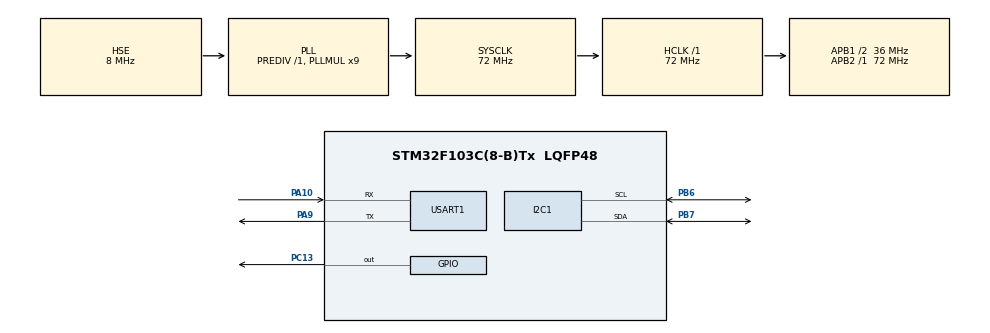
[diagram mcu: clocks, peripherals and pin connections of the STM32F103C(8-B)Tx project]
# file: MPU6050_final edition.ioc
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I2C1.I2C_Mode=I2C_Fast
Mcu.Family=STM32F1
Mcu.Name=STM32F103C(8-B)Tx
Mcu.Package=LQFP48
NVIC.PriorityGroup=NVIC_PRIORITYGROUP_4
NVIC.TIM2_IRQn=true\:0\:0\:false\:false\:true\:true\:true\:true
NVIC.USART1_IRQn=true\:0\:0\:false\:false\:true\:true\:true\:true
PA10.Mode=Asynchronous
PA10.Signal=USART1_RX
PA13.Mode=Serial_Wire
PA13.Signal=SYS_JTMS-SWDIO
PA14.Mode=Serial_Wire
PA14.Signal=SYS_JTCK-SWCLK
PA9.Mode=Asynchronous
PA9.Signal=USART1_TX
PB6.Mode=I2C
PB6.Signal=I2C1_SCL
PB7.Mode=I2C
PB7.Signal=I2C1_SDA
PC13-TAMPER-RTC.Signal=GPIO_Output
PD0-OSC_IN.Mode=HSE-External-Oscillator
PD0-OSC_IN.Signal=RCC_OSC_IN
PD1-OSC_OUT.Mode=HSE-External-Oscillator
PD1-OSC_OUT.Signal=RCC_OSC_OUT
ProjectManager.HeapSize=0x200
ProjectManager.StackSize=0x400
ProjectManager.TargetToolchain=MDK-ARM V5.32
RCC.AHBFreq_Value=72000000
RCC.APB1CLKDivider=RCC_HCLK_DIV2
RCC.APB1Freq_Value=36000000
RCC.APB1TimFreq_Value=72000000
RCC.APB2Freq_Value=72000000
RCC.APB2TimFreq_Value=72000000
RCC.HCLKFreq_Value=72000000
RCC.PLLMUL=RCC_PLL_MUL9
RCC.PLLSourceVirtual=RCC_PLLSOURCE_HSE
RCC.SYSCLKFreq_VALUE=72000000
RCC.SYSCLKSource=RCC_SYSCLKSOURCE_PLLCLK
RCC.USBFreq_Value=72000000
TIM2.Period=100-1
TIM2.Prescaler=720-1
USART1.VirtualMode=VM_ASYNC
VP_TIM2_VS_ClockSourceINT.Mode=Internal
board=custom

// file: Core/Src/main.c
/* USER CODE BEGIN Header */
/**
  ******************************************************************************
  * @file           : main.c
  * @brief          : Main program body
  ******************************************************************************
  * @attention
  *
  * Copyright (c) 2022 STMicroelectronics.
  * All rights reserved.
  *
  * This software is licensed under terms that can be found in the LICENSE file
  * in the root directory of this software component.
  * If no LICENSE file comes with this software, it is provided AS-IS.
  *
  ******************************************************************************
  */
/* USER CODE END Header */
#include "main.h"
#include "i2c.h"
#include "tim.h"
#include "usart.h"
#include "gpio.h"

/* USER CODE BEGIN Includes */
#include <stdlib.h>
#include <string.h>
#include "MPU6050.h"
/* USER CODE END Includes */

/* USER CODE BEGIN PM */
int fputc(int ch, FILE *f)
{
  HAL_UART_Transmit(&huart1, (uint8_t *)&ch, 1, 0xffff);
  return ch;
}
/* USER CODE END PM */

/* USER CODE BEGIN PV */
uint8_t Flag_Stop=1,Flag_Show=0;
/* USER CODE END PV */

void SystemClock_Config(void);

int main(void)
{

  /* MCU Configuration--------------------------------------------------------*/

  /* Reset of all peripherals, Initializes the Flash interface and the Systick. */
  HAL_Init();

  /* Configure the system clock */
  SystemClock_Config();

  /* Initialize all configured peripherals */
  MX_GPIO_Init();
  MX_I2C1_Init();
  MX_TIM2_Init();
  MX_USART1_UART_Init();
  /* USER CODE BEGIN 2 */
	w_mpu_init();//MPU初始化
	dmp_init();//DMP初始化
	HAL_TIM_Base_Start_IT(&htim2);
  /* USER CODE END 2 */

  /* Infinite loop */
  while (1)
  {

  }
}

void SystemClock_Config(void)
{
  RCC_OscInitTypeDef RCC_OscInitStruct = {0};
  RCC_ClkInitTypeDef RCC_ClkInitStruct = {0};

  /** Initializes the RCC Oscillators according to the specified parameters
  * in the RCC_OscInitTypeDef structure.
  */
  RCC_OscInitStruct.OscillatorType = RCC_OSCILLATORTYPE_HSE;
  RCC_OscInitStruct.HSEState = RCC_HSE_ON;
  RCC_OscInitStruct.HSEPredivValue = RCC_HSE_PREDIV_DIV1;
  RCC_OscInitStruct.HSIState = RCC_HSI_ON;
  RCC_OscInitStruct.PLL.PLLState = RCC_PLL_ON;
  RCC_OscInitStruct.PLL.PLLSource = RCC_PLLSOURCE_HSE;
  RCC_OscInitStruct.PLL.PLLMUL = RCC_PLL_MUL9;
  if (HAL_RCC_OscConfig(&RCC_OscInitStruct) != HAL_OK)
  {
    Error_Handler();
  }

  /** Initializes the CPU, AHB and APB buses clocks
  */
  RCC_ClkInitStruct.ClockType = RCC_CLOCKTYPE_HCLK|RCC_CLOCKTYPE_SYSCLK
                              |RCC_CLOCKTYPE_PCLK1|RCC_CLOCKTYPE_PCLK2;
  RCC_ClkInitStruct.SYSCLKSource = RCC_SYSCLKSOURCE_PLLCLK;
  RCC_ClkInitStruct.AHBCLKDivider = RCC_SYSCLK_DIV1;
  RCC_ClkInitStruct.APB1CLKDivider = RCC_HCLK_DIV2;
  RCC_ClkInitStruct.APB2CLKDivider = RCC_HCLK_DIV1;

  if (HAL_RCC_ClockConfig(&RCC_ClkInitStruct, FLASH_LATENCY_2) != HAL_OK)
  {
    Error_Handler();
  }
}

/* USER CODE BEGIN 4 */
void HAL_TIM_PeriodElapsedCallback(TIM_HandleTypeDef *htim)
{
	read_dmp(&mpu_pose_msg);//获取姿态数据
	if(htim == &htim2)
	{
		  static uint16_t tim2_count=0;
	    if(++tim2_count>=50000)tim2_count=0;
		  if(tim2_count%10==0)//500毫秒中断
			{
				printf("%.2f,%.2f,%.2f\n", mpu_pose_msg.pitch,mpu_pose_msg.roll,mpu_pose_msg.yaw);
			}
	}
}
/* USER CODE END 4 */

void Error_Handler(void)
{
  __disable_irq();
  while (1)
  {
  }
}
